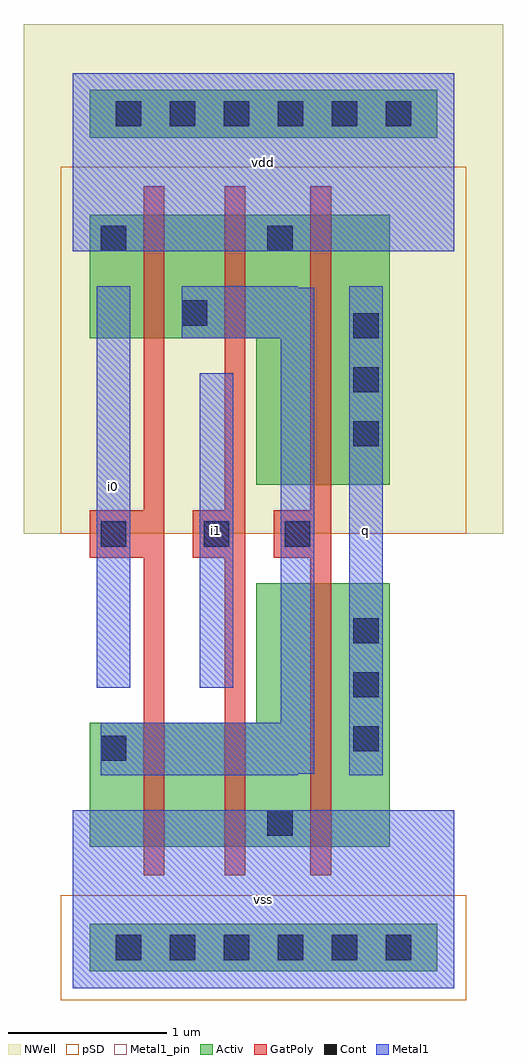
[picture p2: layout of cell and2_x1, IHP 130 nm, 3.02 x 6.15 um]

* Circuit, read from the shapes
.subckt and2_x1 i0 i1 q vdd vss
XM1 n1 i0 n2 vss sg13_lv_nmos w=0.78u l=0.13u
XM2 vss i1 n1 vss sg13_lv_nmos w=0.78u l=0.13u
XM3 q n2 vss vss sg13_lv_nmos w=1.66u l=0.13u
XM4 n2 i0 vdd vdd sg13_lv_pmos w=0.78u l=0.13u
XM5 vdd i1 n2 vdd sg13_lv_pmos w=0.78u l=0.13u
XM6 q n2 vdd vdd sg13_lv_pmos w=1.7u l=0.13u
.ends

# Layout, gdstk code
import gdstk
lib = gdstk.Library(unit=1e-6, precision=1e-09)
def R(c, l, rs):  # rectangles x0, y0, x1, y1
    for r in rs: c.add(gdstk.rectangle(r[:2], r[2:], *l))
def P(c, l, *ps):  # polygons
    for p in ps: c.add(gdstk.Polygon(p, *l))
Activ = (1, 0)
GatPoly = (5, 0)
Cont = (6, 0)
Metal1 = (8, 0)
Metal1_pin = (8, 2)
pSD = (14, 0)
NWell = (31, 0)

and2_x1 = lib.new_cell('and2_x1')
P(and2_x1, Activ, [(0.575,0.89),(0.575,1.67),(0.805,1.67),(0.805,0.89),(0.575,0.89)],
  [(0.725,0.89),(0.725,1.67),(0.955,1.67),(0.955,0.89),(0.725,0.89)],
  [(0.58,0.89),(0.58,1.67),(0.95,1.67),(0.95,0.89),(0.58,0.89)],
  [(0.645,0.89),(0.645,1.67),(0.885,1.67),(0.885,0.89),(0.645,0.89)],
  [(1.495,0.89),(1.495,2.55),(1.625,2.55),(1.625,0.89),(1.495,0.89)],
  [(0.105,0.105),(0.105,0.405),(2.295,0.405),(2.295,0.105),(0.105,0.105)],
  [(1.155,0.89),(1.155,2.55),(1.425,2.55),(1.425,0.89),(1.155,0.89)],
  [(1.265,0.89),(1.265,2.55),(1.495,2.55),(1.495,0.89),(1.265,0.89)],
  [(0.2,0.105),(0.2,0.405),(2.2,0.405),(2.2,0.105),(0.2,0.105)],
  [(1.155,0.89),(1.155,1.19),(1.455,1.19),(1.455,0.89),(1.155,0.89)],
  [(0.955,0.89),(0.955,1.67),(1.085,1.67),(1.085,0.89),(0.955,0.89)],
  [(1.085,0.89),(1.085,1.67),(1.315,1.67),(1.315,0.89),(1.085,0.89)],
  [(0.445,0.89),(0.445,1.67),(0.575,1.67),(0.575,0.89),(0.445,0.89)],
  [(1.155,0.89),(1.155,2.55),(1.455,2.55),(1.455,0.89),(1.155,0.89)],
  [(1.155,4.57),(1.155,4.87),(1.455,4.87),(1.455,4.57),(1.155,4.57)],
  [(1.085,4.09),(1.085,4.87),(1.315,4.87),(1.315,4.09),(1.085,4.09)],
  [(1.265,3.17),(1.265,4.87),(1.495,4.87),(1.495,3.17),(1.265,3.17)],
  [(0.215,4.09),(0.215,4.87),(0.445,4.87),(0.445,4.09),(0.215,4.09)],
  [(0.955,4.09),(0.955,4.87),(1.085,4.87),(1.085,4.09),(0.955,4.09)],
  [(1.495,3.17),(1.495,4.87),(1.625,4.87),(1.625,3.17),(1.495,3.17)],
  [(0.105,4.09),(0.105,4.87),(0.405,4.87),(0.405,4.09),(0.105,4.09)],
  [(1.155,3.17),(1.155,4.87),(1.455,4.87),(1.455,3.17),(1.155,3.17)],
  [(0.445,4.09),(0.445,4.87),(0.575,4.87),(0.575,4.09),(0.445,4.09)],
  [(1.155,3.17),(1.155,4.87),(1.425,4.87),(1.425,3.17),(1.155,3.17)],
  [(0.2,5.355),(0.2,5.655),(2.2,5.655),(2.2,5.355),(0.2,5.355)],
  [(0.105,4.09),(0.105,4.87),(0.375,4.87),(0.375,4.09),(0.105,4.09)],
  [(0.105,4.57),(0.105,4.87),(0.405,4.87),(0.405,4.57),(0.105,4.57)],
  [(0.105,5.355),(0.105,5.655),(2.295,5.655),(2.295,5.355),(0.105,5.355)],
  [(1.695,0.89),(1.695,2.55),(1.995,2.55),(1.995,0.89),(1.695,0.89)],
  [(1.625,0.89),(1.625,2.55),(1.855,2.55),(1.855,0.89),(1.625,0.89)],
  [(1.695,3.17),(1.695,4.87),(1.995,4.87),(1.995,3.17),(1.695,3.17)],
  [(1.695,3.17),(1.695,4.87),(1.995,4.87),(1.995,3.17),(1.695,3.17)],
  [(1.695,3.34),(1.695,4.32),(1.995,4.32),(1.995,3.34),(1.695,3.34)],
  [(1.695,0.89),(1.695,2.55),(1.995,2.55),(1.995,0.89),(1.695,0.89)],
  [(1.695,1.42),(1.695,2.4),(1.995,2.4),(1.995,1.42),(1.695,1.42)],
  [(1.625,3.17),(1.625,4.87),(1.855,4.87),(1.855,3.17),(1.625,3.17)],
  [(0.215,0.89),(0.215,1.67),(0.445,1.67),(0.445,0.89),(0.215,0.89)],
  [(0.105,0.89),(0.105,1.67),(0.375,1.67),(0.375,0.89),(0.105,0.89)],
  [(0.105,0.89),(0.105,1.67),(0.405,1.67),(0.405,0.89),(0.105,0.89)],
  [(0.575,4.09),(0.575,4.87),(0.805,4.87),(0.805,4.09),(0.575,4.09)],
  [(0.105,1.36),(0.105,1.66),(0.405,1.66),(0.405,1.36),(0.105,1.36)],
  [(0.615,4.1),(0.615,4.4),(0.915,4.4),(0.915,4.1),(0.615,4.1)],
  [(0.645,4.09),(0.645,4.87),(0.885,4.87),(0.885,4.09),(0.645,4.09)],
  [(0.725,4.09),(0.725,4.87),(0.955,4.87),(0.955,4.09),(0.725,4.09)],
  [(0.615,4.09),(0.615,4.87),(0.915,4.87),(0.915,4.09),(0.615,4.09)])
P(and2_x1, GatPoly, [(1.495,0.71),(1.495,2.73),(1.625,2.73),(1.625,0.71),(1.495,0.71)],
  [(1.495,2.99),(1.495,5.05),(1.625,5.05),(1.625,2.99),(1.495,2.99)],
  [(1.495,0.71),(1.495,2.99),(1.625,2.99),(1.625,0.71),(1.495,0.71)],
  [(1.265,2.71),(1.265,3.01),(1.565,3.01),(1.565,2.71),(1.265,2.71)],
  [(1.415,2.71),(1.415,3.01),(1.56,3.01),(1.56,2.71),(1.415,2.71)],
  [(0.955,0.71),(0.955,1.85),(1.085,1.85),(1.085,0.71),(0.955,0.71)],
  [(0.905,2.71),(0.905,3.01),(1.02,3.01),(1.02,2.71),(0.905,2.71)],
  [(0.955,0.71),(0.955,3.91),(1.085,3.91),(1.085,0.71),(0.955,0.71)],
  [(0.955,3.91),(0.955,5.05),(1.085,5.05),(1.085,3.91),(0.955,3.91)],
  [(0.755,2.71),(0.755,3.01),(1.055,3.01),(1.055,2.71),(0.755,2.71)],
  [(0.445,0.71),(0.445,3.91),(0.575,3.91),(0.575,0.71),(0.445,0.71)],
  [(0.255,2.71),(0.255,3.01),(0.51,3.01),(0.51,2.71),(0.255,2.71)],
  [(0.445,0.71),(0.445,1.85),(0.575,1.85),(0.575,0.71),(0.445,0.71)],
  [(0.105,2.71),(0.105,3.01),(0.405,3.01),(0.405,2.71),(0.105,2.71)],
  [(0.445,3.91),(0.445,5.05),(0.575,5.05),(0.575,3.91),(0.445,3.91)])
P(and2_x1, Cont, [(1.225,0.96),(1.225,1.12),(1.385,1.12),(1.385,0.96),(1.225,0.96)],
  [(0.27,0.175),(0.27,0.335),(0.43,0.335),(0.43,0.175),(0.27,0.175)],
  [(0.61,0.175),(0.61,0.335),(0.77,0.335),(0.77,0.175),(0.61,0.175)],
  [(0.95,0.175),(0.95,0.335),(1.11,0.335),(1.11,0.175),(0.95,0.175)],
  [(1.29,0.175),(1.29,0.335),(1.45,0.335),(1.45,0.175),(1.29,0.175)],
  [(1.63,0.175),(1.63,0.335),(1.79,0.335),(1.79,0.175),(1.63,0.175)],
  [(1.97,0.175),(1.97,0.335),(2.13,0.335),(2.13,0.175),(1.97,0.175)],
  [(0.27,5.425),(0.27,5.585),(0.43,5.585),(0.43,5.425),(0.27,5.425)],
  [(0.61,5.425),(0.61,5.585),(0.77,5.585),(0.77,5.425),(0.61,5.425)],
  [(0.95,5.425),(0.95,5.585),(1.11,5.585),(1.11,5.425),(0.95,5.425)],
  [(1.29,5.425),(1.29,5.585),(1.45,5.585),(1.45,5.425),(1.29,5.425)],
  [(1.63,5.425),(1.63,5.585),(1.79,5.585),(1.79,5.425),(1.63,5.425)],
  [(1.97,5.425),(1.97,5.585),(2.13,5.585),(2.13,5.425),(1.97,5.425)],
  [(0.175,4.64),(0.175,4.8),(0.335,4.8),(0.335,4.64),(0.175,4.64)],
  [(1.225,4.64),(1.225,4.8),(1.385,4.8),(1.385,4.64),(1.225,4.64)],
  [(1.765,2.17),(1.765,2.33),(1.925,2.33),(1.925,2.17),(1.765,2.17)],
  [(1.765,1.83),(1.765,1.99),(1.925,1.99),(1.925,1.83),(1.765,1.83)],
  [(1.765,1.49),(1.765,1.65),(1.925,1.65),(1.925,1.49),(1.765,1.49)],
  [(1.765,3.41),(1.765,3.57),(1.925,3.57),(1.925,3.41),(1.765,3.41)],
  [(1.765,3.75),(1.765,3.91),(1.925,3.91),(1.925,3.75),(1.765,3.75)],
  [(1.765,4.09),(1.765,4.25),(1.925,4.25),(1.925,4.09),(1.765,4.09)],
  [(0.175,1.43),(0.175,1.59),(0.335,1.59),(0.335,1.43),(0.175,1.43)],
  [(1.335,2.78),(1.335,2.94),(1.495,2.94),(1.495,2.78),(1.335,2.78)],
  [(0.685,4.17),(0.685,4.33),(0.845,4.33),(0.845,4.17),(0.685,4.17)],
  [(0.825,2.78),(0.825,2.94),(0.985,2.94),(0.985,2.78),(0.825,2.78)],
  [(0.175,2.78),(0.175,2.94),(0.335,2.94),(0.335,2.78),(0.175,2.78)])
R(and2_x1, Metal1, [(0,0,2.4,1.12), (1.74,1.34,1.95,4.42), (0.15,1.89,0.36,4.42), (0.8,1.89,1.01,3.87), (0,4.64,2.4,5.76)])
P(and2_x1, Metal1, [(0,0),(0,1.12),(2.4,1.12),(2.4,0),(0,0)],
  [(0.27,0.095),(0.27,0.415),(2.13,0.415),(2.13,0.095),(0.27,0.095)],
  [(1.145,0.96),(1.145,1.12),(1.465,1.12),(1.465,0.96),(1.145,0.96)],
  [(0.095,4.64),(0.095,4.8),(0.415,4.8),(0.415,4.64),(0.095,4.64)],
  [(0,4.64),(0,5.76),(2.4,5.76),(2.4,4.64),(0,4.64)],
  [(0.27,5.345),(0.27,5.665),(2.13,5.665),(2.13,5.345),(0.27,5.345)],
  [(1.145,4.64),(1.145,4.8),(1.465,4.8),(1.465,4.64),(1.145,4.64)],
  [(1.765,1.41),(1.765,2.41),(1.925,2.41),(1.925,1.41),(1.765,1.41)],
  [(1.765,3.33),(1.765,4.33),(1.925,4.33),(1.925,3.33),(1.765,3.33)],
  [(1.765,1.34),(1.765,2.48),(1.925,2.48),(1.925,1.34),(1.765,1.34)],
  [(1.765,3.24),(1.765,4.42),(1.925,4.42),(1.925,3.24),(1.765,3.24)],
  [(1.74,1.34),(1.74,4.42),(1.95,4.42),(1.95,1.34),(1.74,1.34)],
  [(1.335,2.7),(1.335,3.02),(1.495,3.02),(1.495,2.7),(1.335,2.7)],
  [(1.31,4.09),(1.31,4.41),(1.52,4.41),(1.52,4.09),(1.31,4.09)],
  [(0.175,1.35),(0.175,1.67),(0.335,1.67),(0.335,1.35),(0.175,1.35)],
  [(0.765,4.09),(0.765,4.42),(1.415,4.42),(1.415,4.09),(0.765,4.09)],
  [(0.255,1.34),(0.255,1.67),(1.415,1.67),(1.415,1.34),(0.255,1.34)],
  [(0.175,1.34),(0.175,1.67),(0.335,1.67),(0.335,1.34),(0.175,1.34)],
  [(1.31,1.35),(1.31,4.41),(1.52,4.41),(1.52,1.35),(1.31,1.35)],
  [(0.685,4.09),(0.685,4.42),(0.845,4.42),(0.845,4.09),(0.685,4.09)],
  [(1.31,1.35),(1.31,1.67),(1.52,1.67),(1.52,1.35),(1.31,1.35)],
  [(0.685,4.09),(0.685,4.41),(0.845,4.41),(0.845,4.09),(0.685,4.09)],
  [(0.8,1.89),(0.8,3.87),(1.01,3.87),(1.01,1.89),(0.8,1.89)],
  [(0.825,2.7),(0.825,3.02),(0.985,3.02),(0.985,2.7),(0.825,2.7)],
  [(0.175,2.7),(0.175,3.02),(0.335,3.02),(0.335,2.7),(0.175,2.7)],
  [(0.15,1.89),(0.15,4.42),(0.36,4.42),(0.36,1.89),(0.15,1.89)])
R(and2_x1, Metal1_pin, [(0,0,2.4,1.12), (0,0,2.4,1.12), (1.74,1.34,1.95,4.42), (1.74,1.34,1.95,4.42), (0.15,1.89,0.36,4.42), (0.15,1.89,0.36,4.42), (0.8,1.89,1.01,3.87), (0.8,1.89,1.01,3.87), (0,4.64,2.4,5.76), (0,4.64,2.4,5.76)])
P(and2_x1, pSD, [(0.035,3.91),(0.035,5.05),(0.985,5.05),(0.985,3.91),(0.035,3.91)],
  [(1.515,3.04),(1.515,4.62),(2.175,4.62),(2.175,3.04),(1.515,3.04)],
  [(0.975,4.27),(0.975,5.17),(1.635,5.17),(1.635,4.27),(0.975,4.27)],
  [(0.975,2.87),(0.975,5.17),(1.635,5.17),(1.635,2.87),(0.975,2.87)],
  [(0.545,3.91),(0.545,5.05),(1.495,5.05),(1.495,3.91),(0.545,3.91)],
  [(-0.075,3.79),(-0.075,5.17),(0.555,5.17),(0.555,3.79),(-0.075,3.79)],
  [(-0.075,3.79),(-0.075,5.17),(0.585,5.17),(0.585,3.79),(-0.075,3.79)],
  [(0.655,3.79),(0.655,5.17),(1.385,5.17),(1.385,3.79),(0.655,3.79)],
  [(0.435,3.8),(0.435,4.7),(1.095,4.7),(1.095,3.8),(0.435,3.8)],
  [(0.435,3.79),(0.435,5.17),(1.095,5.17),(1.095,3.79),(0.435,3.79)],
  [(1.195,2.87),(1.195,5.17),(1.925,5.17),(1.925,2.87),(1.195,2.87)],
  [(-0.075,4.27),(-0.075,5.17),(0.585,5.17),(0.585,4.27),(-0.075,4.27)],
  [(0.02,-0.075),(0.02,0.585),(2.38,0.585),(2.38,-0.075),(0.02,-0.075)],
  [(-0.075,2.86),(-0.075,5.17),(2.475,5.17),(2.475,2.86),(-0.075,2.86)],
  [(0.145,3.79),(0.145,5.17),(0.875,5.17),(0.875,3.79),(0.145,3.79)],
  [(1.515,2.87),(1.515,5.17),(2.175,5.17),(2.175,2.87),(1.515,2.87)],
  [(1.085,2.99),(1.085,5.05),(2.035,5.05),(2.035,2.99),(1.085,2.99)],
  [(0.465,3.79),(0.465,5.17),(1.065,5.17),(1.065,3.79),(0.465,3.79)],
  [(1.515,2.87),(1.515,5.17),(2.175,5.17),(2.175,2.87),(1.515,2.87)],
  [(0.975,2.87),(0.975,5.17),(1.605,5.17),(1.605,2.87),(0.975,2.87)],
  [(-0.075,-0.075),(-0.075,0.585),(2.475,0.585),(2.475,-0.075),(-0.075,-0.075)])
P(and2_x1, NWell, [(-0.205,5.045),(-0.205,5.965),(2.605,5.965),(2.605,5.045),(-0.205,5.045)],
  [(1.385,3.03),(1.385,4.63),(2.305,4.63),(2.305,3.03),(1.385,3.03)],
  [(0.335,3.78),(0.335,5.18),(1.195,5.18),(1.195,3.78),(0.335,3.78)],
  [(0.415,3.78),(0.415,5.18),(1.625,5.18),(1.625,3.78),(0.415,3.78)],
  [(-0.11,5.045),(-0.11,5.965),(2.51,5.965),(2.51,5.045),(-0.11,5.045)],
  [(0.305,3.78),(0.305,5.18),(1.225,5.18),(1.225,3.78),(0.305,3.78)],
  [(-0.205,3.78),(-0.205,5.18),(0.715,5.18),(0.715,3.78),(-0.205,3.78)],
  [(0.305,3.79),(0.305,4.71),(1.225,4.71),(1.225,3.79),(0.305,3.79)],
  [(1.385,2.86),(1.385,5.18),(2.305,5.18),(2.305,2.86),(1.385,2.86)],
  [(-0.31,2.86),(-0.31,6.07),(2.71,6.07),(2.71,2.86),(-0.31,2.86)],
  [(0.955,2.86),(0.955,5.18),(2.165,5.18),(2.165,2.86),(0.955,2.86)],
  [(-0.205,3.78),(-0.205,5.18),(0.685,5.18),(0.685,3.78),(-0.205,3.78)],
  [(1.385,2.86),(1.385,5.18),(2.305,5.18),(2.305,2.86),(1.385,2.86)],
  [(0.845,2.86),(0.845,5.18),(1.765,5.18),(1.765,2.86),(0.845,2.86)],
  [(-0.095,3.78),(-0.095,5.18),(1.115,5.18),(1.115,3.78),(-0.095,3.78)],
  [(-0.205,4.26),(-0.205,5.18),(0.715,5.18),(0.715,4.26),(-0.205,4.26)],
  [(0.845,4.26),(0.845,5.18),(1.765,5.18),(1.765,4.26),(0.845,4.26)],
  [(0.845,2.86),(0.845,5.18),(1.735,5.18),(1.735,2.86),(0.845,2.86)])
and2_x1.add(gdstk.Label('vss', (1.2,0.56), layer=8, texttype=25))
and2_x1.add(gdstk.Label('vdd', (1.2,5.2), layer=8, texttype=25))
and2_x1.add(gdstk.Label('q', (1.845,2.88), layer=8, texttype=25))
and2_x1.add(gdstk.Label('i1', (0.905,2.88), layer=8, texttype=25))
and2_x1.add(gdstk.Label('i0', (0.255,3.155), layer=8, texttype=25))

lib.write_gds('and2_x1.gds')
